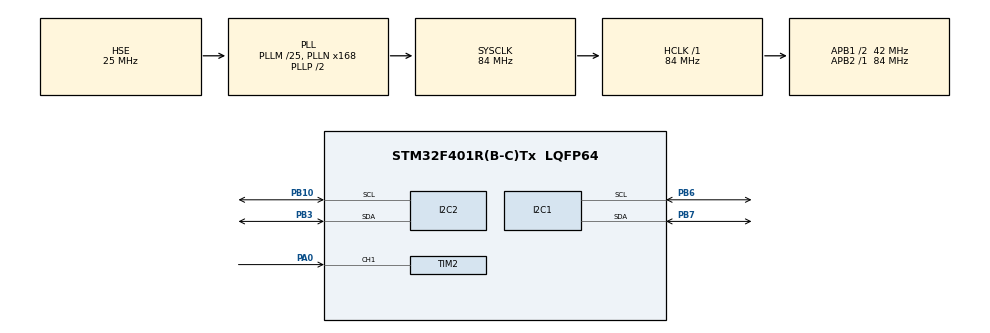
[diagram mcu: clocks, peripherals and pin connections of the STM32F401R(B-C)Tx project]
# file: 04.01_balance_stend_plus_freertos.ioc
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I2C1.I2C_Mode=I2C_Fast
I2C2.I2C_Mode=I2C_Fast
Mcu.Family=STM32F4
Mcu.Name=STM32F401R(B-C)Tx
Mcu.Package=LQFP64
NVIC.PriorityGroup=NVIC_PRIORITYGROUP_4
NVIC.TIM1_UP_TIM10_IRQn=true\:15\:0\:false\:false\:true\:false\:true
NVIC.TIM2_IRQn=true\:0\:0\:false\:false\:true\:true\:true
NVIC.TimeBase=TIM1_UP_TIM10_IRQn
NVIC.TimeBaseIP=TIM1
PA0-WKUP.GPIO_ModeDefaultPP=GPIO_MODE_AF_PP
PA0-WKUP.GPIO_PuPd=GPIO_NOPULL
PA0-WKUP.GPIO_Speed=GPIO_SPEED_FREQ_LOW
PA0-WKUP.Signal=S_TIM2_CH1_ETR
PA13.Mode=Serial_Wire
PA13.Signal=SYS_JTMS-SWDIO
PA14.Mode=Serial_Wire
PA14.Signal=SYS_JTCK-SWCLK
PB10.Mode=I2C
PB10.Signal=I2C2_SCL
PB3.Mode=I2C
PB3.Signal=I2C2_SDA
PB6.Mode=I2C
PB6.Signal=I2C1_SCL
PB7.Mode=I2C
PB7.Signal=I2C1_SDA
PH0\ -\ OSC_IN.Mode=HSE-External-Oscillator
PH0\ -\ OSC_IN.Signal=RCC_OSC_IN
PH1\ -\ OSC_OUT.Mode=HSE-External-Oscillator
PH1\ -\ OSC_OUT.Signal=RCC_OSC_OUT
ProjectManager.HeapSize=0x200
ProjectManager.StackSize=0x400
ProjectManager.TargetToolchain=STM32CubeIDE
RCC.48MHZClocksFreq_Value=42000000
RCC.AHBFreq_Value=84000000
RCC.APB1CLKDivider=RCC_HCLK_DIV2
RCC.APB1Freq_Value=42000000
RCC.APB1TimFreq_Value=84000000
RCC.APB2Freq_Value=84000000
RCC.APB2TimFreq_Value=84000000
RCC.CortexFreq_Value=84000000
RCC.HCLKFreq_Value=84000000
RCC.HSE_VALUE=25000000
RCC.HSI_VALUE=16000000
RCC.LSE_VALUE=32768
RCC.PLLM=25
RCC.PLLN=168
RCC.PLLSourceVirtual=RCC_PLLSOURCE_HSE
RCC.SYSCLKFreq_VALUE=84000000
RCC.SYSCLKSource=RCC_SYSCLKSOURCE_PLLCLK
RCC.VCOOutputFreq_Value=168000000
SH.S_TIM2_CH1_ETR.0=TIM2_CH1,Input_Capture1_from_TI1
TIM2.Channel-Input_Capture1_from_TI1=TIM_CHANNEL_1
TIM2.Prescaler=84-1
VP_SYS_VS_tim1.Mode=TIM1
VP_TIM2_VS_ClockSourceINT.Mode=Internal
board=custom

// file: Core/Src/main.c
/* USER CODE BEGIN Header */
/**
  ******************************************************************************
  * @file           : main.c
  * @brief          : Main program body
  ******************************************************************************
  * @attention
  *
  * <h2><center>&copy; Copyright (c) 2023 STMicroelectronics.
  * All rights reserved.</center></h2>
  *
  * This software component is licensed by ST under BSD 3-Clause license,
  * the "License"; You may not use this file except in compliance with the
  * License. You may obtain a copy of the License at:
  *                        opensource.org/licenses/BSD-3-Clause
  *
  ******************************************************************************
  */
/* USER CODE END Header */
#include "liquidcrystal_i2c.h"
#include "main.h"
#include "i2c.h"
#include "tim.h"
#include "gpio.h"

/* USER CODE BEGIN Includes */
/* Hardware and starter kit includes. */
#include "stm32f4xx.h"
#include <string.h> /* memset */
#include <unistd.h> /* close */
#include <stdio.h>
/* USER CODE END Includes */

/* USER CODE BEGIN PTD */
typedef struct STRCT_freq_process {
	// FP_ - Frequency process
	uint32_t FP_frequency_counter;
	uint32_t FP_front_counter;
	uint32_t FP_period;
	uint32_t FP_frequency;
	uint32_t FP_timeout_flag;
} STRCT_freq_process;

typedef struct STRCT_lcd_process {
	// LCDPR_ - LCD PRINT
	// accelerometrs values
	int16_t LCDPR_act_acc_value;
	int16_t LCDPR_prev_acc_value;
	int16_t LCDPR_acc_max_value;
	int16_t LCDPR_acc_min_value;
	float LCDPR_acc_amplitude;
	float LCDPR_prev_acc_amplitude;

	// frequency values
	uint32_t LCDPR_frequency_counter;
	uint32_t LCDPR_period;
	float LCDPR_frequency;
	float LCDPR_prev_freqency_value;

	// frequency values from imu
	uint32_t LCDPR_frequency_counter_from_imu_values;
	uint32_t LCDPR_period_from_imu_values;
	float LCDPR_frequency_from_imu_values;

	// flags
	uint8_t LCDPR_freq_flag;
	int16_t LCDPR_ampl_flag;
	uint8_t LCDPR_phase_flag;

	// buffers
	char LCDPR_clear_buff[16];
	char LCDPR_print_buff[10];

	// phase
	float LCDPR_phase;
	float LCDPR_phase_crockodil;
	float LCDPR_prev_phase_value;

} STRCT_lcd_process;

/* USER CODE END PTD */

/* USER CODE BEGIN PD */
//#define mainDELAY_LOOP_COUNT   ( 0xfffff )
#define mainDELAY_LOOP_COUNT   ( 0x7D0 )
//#define mainDELAY_LOOP_COUNT   ( 0xBB8 )

#define MPU6050_ADDR 0xD0

#define SMPLRT_DIV_REG 0x19
#define GYRO_CONFIG_REG 0x1B
#define ACCEL_CONFIG_REG 0x1C
#define ACCEL_XOUT_H_REG 0x3B
#define TEMP_OUT_H_REG 0x41
#define GYRO_XOUT_H_REG 0x43
#define PWR_MGMT_1_REG 0x6B
#define WHO_AM_I_REG 0x75
#define DLPF_CFG_REG 0x1A
/* USER CODE END PD */

void SystemClock_Config(void);

/* USER CODE BEGIN 0 */
#define TIMCLOCK   84000000
#define PRESCALAR  84-1

uint32_t IC_Val1 = 0;
uint32_t IC_Val2 = 0;
uint32_t Difference = 0;
int Is_First_Captured = 0;

// GLOBAL VARIABLES, THAT WILL CONTAIN NEXT VALUES:
// actual frequency
float GLBL_frequency = 0;
// actual value of accelerometr
int16_t GLBL_act_acc_value = 0;
// frequency counter
uint32_t GLBL_frequency_counter =  0;
// timeout flag of driver working or not working
uint16_t driver_off_flag = 0;
/* GetIdleTaskMemory prototype (linked to static allocation support) */
void vApplicationGetIdleTaskMemory( StaticTask_t **ppxIdleTaskTCBBuffer, StackType_t **ppxIdleTaskStackBuffer, uint32_t *pulIdleTaskStackSize );

/* USER CODE BEGIN GET_IDLE_TASK_MEMORY */
static StaticTask_t xIdleTaskTCBBuffer;
static StackType_t xIdleStack[configMINIMAL_STACK_SIZE];

void vApplicationGetIdleTaskMemory( StaticTask_t **ppxIdleTaskTCBBuffer, StackType_t **ppxIdleTaskStackBuffer, uint32_t *pulIdleTaskStackSize )
{
  *ppxIdleTaskTCBBuffer = &xIdleTaskTCBBuffer;
  *ppxIdleTaskStackBuffer = &xIdleStack[0];
  *pulIdleTaskStackSize = configMINIMAL_STACK_SIZE;
  /* place for user code */
}

void HAL_TIM_IC_CaptureCallback(TIM_HandleTypeDef *htim)
{
	if (htim->Channel == HAL_TIM_ACTIVE_CHANNEL_1)
	{
		driver_off_flag = 0;
		if (Is_First_Captured==0) // if the first rising edge is not captured
		{
			IC_Val1 = HAL_TIM_ReadCapturedValue(htim, TIM_CHANNEL_1); // read the first value
			Is_First_Captured = 1;  // set the first captured as true

			GLBL_frequency_counter++;
		}

		else   // If the first rising edge is captured, now we will capture the second edge
		{
			IC_Val2 = HAL_TIM_ReadCapturedValue(htim, TIM_CHANNEL_1);  // read second value

			if (IC_Val2 > IC_Val1)
			{
				Difference = IC_Val2-IC_Val1;
			}

			else if (IC_Val1 > IC_Val2)
			{
				Difference = (0xffffffff - IC_Val1) + IC_Val2;
			}

			float refClock = TIMCLOCK/(PRESCALAR);

			GLBL_frequency = refClock/Difference;

//			if((refClock/Difference) > 100)
//				;
//			else
//				GLBL_frequency = refClock/Difference;

			//printf("frequency = %.5f\n", frequency*1000);

			__HAL_TIM_SET_COUNTER(htim, 0);  // reset the counter
			Is_First_Captured = 0; // set it back to false

			GLBL_frequency_counter++;
		}
	}
}

void MPU6050_Init (void)
{
	uint8_t check;
	uint8_t Data;

	// check device ID WHO_AM_I

	HAL_I2C_Mem_Read (&hi2c1, MPU6050_ADDR,WHO_AM_I_REG,1, &check, 1, 1000);

	if (check == 104)  // 0x68 will be returned by the sensor if everything goes well
	{
		// internal accelerometr delay to zero
		Data = 0;
		HAL_I2C_Mem_Write(&hi2c1, MPU6050_ADDR, DLPF_CFG_REG, 1, &Data, 1, 1000);

		// power management register 0X6B we should write all 0's to wake the sensor up
		Data = 0;
		HAL_I2C_Mem_Write(&hi2c1, MPU6050_ADDR, PWR_MGMT_1_REG, 1, &Data, 1, 1000);

		// Set DATA RATE of 1KHz by writing SMPLRT_DIV register
		Data = 0x07;
		HAL_I2C_Mem_Write(&hi2c1, MPU6050_ADDR, SMPLRT_DIV_REG, 1, &Data, 1, 1000);

		// Set accelerometer configuration in ACCEL_CONFIG Register
		// XA_ST=0,YA_ST=0,ZA_ST=0, FS_SEL=0 -> ± 2g
		Data = 0x00;
		HAL_I2C_Mem_Write(&hi2c1, MPU6050_ADDR, ACCEL_CONFIG_REG, 1, &Data, 1, 1000);

		// Set Gyroscopic configuration in GYRO_CONFIG Register
		// XG_ST=0,YG_ST=0,ZG_ST=0, FS_SEL=0 -> ± 250 °/s
		Data = 0x00;
		HAL_I2C_Mem_Write(&hi2c1, MPU6050_ADDR, GYRO_CONFIG_REG, 1, &Data, 1, 1000);
	}
}

void mpu6050_read_accel(void)
{
	// RA_ - READ ACCELEROMETR

	// accelerometrs values
	int16_t RA_Accel_X_RAW = 0;
	float RA_Ax;
	uint8_t RA_Rec_Data[2];

	HAL_I2C_Mem_Read (&hi2c1, MPU6050_ADDR, ACCEL_XOUT_H_REG, 1, RA_Rec_Data, 2, 1000);

	RA_Accel_X_RAW = (int16_t)(RA_Rec_Data[0] << 8 | RA_Rec_Data [1]);

	RA_Ax = RA_Accel_X_RAW/16384.0;

	GLBL_act_acc_value = RA_Ax*1000;
}

void lcd1602_print(STRCT_lcd_process* obj_lcd_process)
{
	// LCDPR_ - LCD PRINT

	driver_off_flag++;
	if(driver_off_flag > 200)
	{
		GLBL_frequency = 0;
		GLBL_frequency_counter = 0;
	}

	obj_lcd_process->LCDPR_act_acc_value = GLBL_act_acc_value;
	obj_lcd_process->LCDPR_frequency_counter = GLBL_frequency_counter;
	obj_lcd_process->LCDPR_frequency = GLBL_frequency;

	// there were a hard fault because here can be dividing of 360*phase_crockodil to period, and
	// period shouldn't be a zero
	if(obj_lcd_process->LCDPR_prev_acc_value > 0 && obj_lcd_process->LCDPR_act_acc_value <= 0 &&
			obj_lcd_process->LCDPR_frequency_counter_from_imu_values > 30)
	{
		obj_lcd_process->LCDPR_period_from_imu_values = obj_lcd_process->LCDPR_frequency_counter_from_imu_values;
		obj_lcd_process->LCDPR_frequency_counter_from_imu_values = 0;
		obj_lcd_process->LCDPR_frequency_from_imu_values = (1.0/(obj_lcd_process->LCDPR_period_from_imu_values))*1000 * 10;

		obj_lcd_process->LCDPR_phase_crockodil = obj_lcd_process->LCDPR_frequency_counter;
		obj_lcd_process->LCDPR_phase = 360*(obj_lcd_process->LCDPR_phase_crockodil)*(obj_lcd_process->LCDPR_frequency);

		obj_lcd_process->LCDPR_frequency_counter = 0;

		(obj_lcd_process->LCDPR_phase_flag)++;
		if(obj_lcd_process->LCDPR_phase_flag > 6)
		{
			// phase
			HD44780_SetCursor(6, 0);
			memset(obj_lcd_process->LCDPR_print_buff, ' ', sizeof(obj_lcd_process->LCDPR_print_buff));
			HD44780_PrintStr (obj_lcd_process->LCDPR_print_buff);
			HD44780_SetCursor(6, 0);
			sprintf(obj_lcd_process->LCDPR_print_buff,"Ph = %u", (unsigned int)obj_lcd_process->LCDPR_phase);
			HD44780_PrintStr (obj_lcd_process->LCDPR_print_buff);

			obj_lcd_process->LCDPR_phase_flag = 0;
		}

		obj_lcd_process->LCDPR_prev_phase_value = obj_lcd_process->LCDPR_phase;
	}
	else{
		obj_lcd_process->LCDPR_frequency_counter_from_imu_values++;
	}

	obj_lcd_process->LCDPR_freq_flag++;
	if(obj_lcd_process->LCDPR_freq_flag > 200)
	{
		HD44780_SetCursor(0, 0);
		memset(obj_lcd_process->LCDPR_print_buff, ' ', sizeof(obj_lcd_process->LCDPR_print_buff));
		HD44780_PrintStr (obj_lcd_process->LCDPR_print_buff);
		HD44780_SetCursor(0, 0);
		sprintf(obj_lcd_process->LCDPR_print_buff,"F = %u", (unsigned int)obj_lcd_process->LCDPR_frequency);
		HD44780_PrintStr (obj_lcd_process->LCDPR_print_buff);

		obj_lcd_process->LCDPR_freq_flag = 0;
	}

	obj_lcd_process->LCDPR_prev_freqency_value = obj_lcd_process->LCDPR_frequency;

	obj_lcd_process->LCDPR_ampl_flag++;
	if(obj_lcd_process->LCDPR_ampl_flag < 200)
	{
		if(obj_lcd_process->LCDPR_act_acc_value >= obj_lcd_process->LCDPR_acc_max_value)
			obj_lcd_process->LCDPR_acc_max_value = obj_lcd_process->LCDPR_act_acc_value;
		if(obj_lcd_process->LCDPR_act_acc_value < obj_lcd_process->LCDPR_acc_min_value)
			obj_lcd_process->LCDPR_acc_min_value = obj_lcd_process->LCDPR_act_acc_value;
	}
	else
	{
		obj_lcd_process->LCDPR_acc_amplitude = obj_lcd_process->LCDPR_acc_max_value - obj_lcd_process->LCDPR_acc_min_value;

		HD44780_SetCursor(0, 1);
		memset(obj_lcd_process->LCDPR_print_buff, ' ', sizeof(obj_lcd_process->LCDPR_print_buff));
		HD44780_PrintStr (obj_lcd_process->LCDPR_print_buff);
		HD44780_SetCursor(0, 1);
		sprintf(obj_lcd_process->LCDPR_print_buff,"A = %u", (unsigned int)obj_lcd_process->LCDPR_acc_amplitude);
		HD44780_PrintStr (obj_lcd_process->LCDPR_print_buff);

		obj_lcd_process->LCDPR_prev_acc_amplitude = obj_lcd_process->LCDPR_acc_amplitude;

		obj_lcd_process->LCDPR_ampl_flag = 0;
		obj_lcd_process->LCDPR_acc_max_value = obj_lcd_process->LCDPR_act_acc_value;
		obj_lcd_process->LCDPR_acc_min_value = obj_lcd_process->LCDPR_act_acc_value;
	}

	obj_lcd_process->LCDPR_prev_acc_value = obj_lcd_process->LCDPR_act_acc_value;

}

void FRRTS_IMU_PROCESS( void *pvParameters )
{
	volatile uint32_t ul; /* volatile to ensure ul is not optimized away. */
	/* As per most tasks, this task is implemented in an infinite loop. */
	for( ;; )
	{
		mpu6050_read_accel();

		/* Delay for a period. */
		for( ul = 0; ul < mainDELAY_LOOP_COUNT; ul++ )
		{
			/* This loop is just a very crude delay implementation. There is
			nothing to do in here. Later examples will replace this crude
			loop with a proper delay/sleep function. */
		}
	}
}

void FRRTS_LCD_PRINT( void *pvParameters )
{
	volatile uint32_t ul; /* volatile to ensure ul is not optimized away. */
	/* As per most tasks, this task is implemented in an infinite loop. */

	STRCT_lcd_process obj_lcd_process = {0};

	for( ;; )
	{
		lcd1602_print(&obj_lcd_process);

		/* Delay for a period. */
		for( ul = 0; ul < mainDELAY_LOOP_COUNT; ul++ )
		{
			/* This loop is just a very crude delay implementation. There is
			nothing to do in here. Later examples will replace this crude
			loop with a proper delay/sleep function. */
		}
	}
}

/* USER CODE END 0 */

int main(void)
{
  /* USER CODE BEGIN 1 */

/*
 * !!!!!!!!!!!!!!!!!!!!!!!!!!!!!!!!!!!!!!!!!!!!!!!!!!!!!!!!!!!!!!!!!!!!!!!!!!!!!!!
 * !!!!!!!!!!!!!!!!!!!!!!!!!!!!!!!!!!!!!!!!!!!!!!!!!!!!!!!!!!!!!!!!!!!!!!!!!!!!!!!
 * !!!!!!!!!!!!!!!!!!!!!!!!!!!!!!!!!!!!!!!!!!!!!!!!!!!!!!!!!!!!!!!!!!!!!!!!!!!!!!!
 * !!!!!!!!!!!!!!!!!!!!!!!!!!!!!!!!!!!!!!!!!!!!!!!!!!!!!!!!!!!!!!!!!!!!!!!!!!!!!!!
 * !!!!!!!!!!!!!!!!!!!!!!!!!!!!!!!!!!!!!!!!!!!!!!!!!!!!!!!!!!!!!!!!!!!!!!!!!!!!!!!
	ЕСЛИ ДАТЧИК ОБОРОТОВ ВЫДАЕТ СЛИШКОМ МНОГО GARBAGE ЗНАЧЕНИЙ ПРИРАСЧЕТЕ ЧАСТОТЫ,
	ТО СЛЕДУЕТ ПОПРОБОВАТЬ ПОКРУТИТЬ ПОТЕНЦИОМЕТР НА САМОМ ДАТЧИКЕ. Т.К. 03.01.2024
	ПОЛУЧИЛОСЬ РЕШИТЬ ЭТУ ПРОБЛЕМУ ТАКИМ ОБРАЗОМ/

	ЕСЛИ НЕ РАБОТАЕТ IMU, ТО ОТСОЕДИНИТЬ ПРОВОД ЗЕМЛИ ОТ ИМЮШКИ НА КОНТРОЛЛЕРЕ И
	ВСТАИТЬ ЗАНОВО

	CUBE IDE МОЖЕТ РУГАТЬСЯ НА ЭТИ СТРОЧКИ КОД:
		if(driver_off_flag > 200)
	{
		GLBL_frequency = 0;
	}

	ЕСЛИ НАЧИНАЕТ РУГАТЬ, ПОПЫТАТЬСЯ СНЧАЛА ИХ ЗАКОММЕНТИРОВАТЬ, ЗАПУСТИТЬ ПРОЕКТ,
	ОНА ДОЛЖЕН ЗАПУСТИТЬСЯ, ПОСЛЕ ЭТОГО ОСТАНОВИТЬСЯ РАБОТУ ПРОГРАММЫ, РАЗКОММЕН-
	ТИРОВАТЬ ЭТИ СТРОЧКИ КОДА И ЗАПУСТИТЬ ПРОГРАММУ ЗАНОВО

 * !!!!!!!!!!!!!!!!!!!!!!!!!!!!!!!!!!!!!!!!!!!!!!!!!!!!!!!!!!!!!!!!!!!!!!!!!!!!!!!
 * !!!!!!!!!!!!!!!!!!!!!!!!!!!!!!!!!!!!!!!!!!!!!!!!!!!!!!!!!!!!!!!!!!!!!!!!!!!!!!!
 * !!!!!!!!!!!!!!!!!!!!!!!!!!!!!!!!!!!!!!!!!!!!!!!!!!!!!!!!!!!!!!!!!!!!!!!!!!!!!!!
 * !!!!!!!!!!!!!!!!!!!!!!!!!!!!!!!!!!!!!!!!!!!!!!!!!!!!!!!!!!!!!!!!!!!!!!!!!!!!!!!
 * !!!!!!!!!!!!!!!!!!!!!!!!!!!!!!!!!!!!!!!!!!!!!!!!!!!!!!!!!!!!!!!!!!!!!!!!!!!!!!!
 * !!!!!!!!!!!!!!!!!!!!!!!!!!!!!!!!!!!!!!!!!!!!!!!!!!!!!!!!!!!!!!!!!!!!!!!!!!!!!!!
*/

  /* USER CODE END 1 */

  /* MCU Configuration--------------------------------------------------------*/

  /* Reset of all peripherals, Initializes the Flash interface and the Systick. */
  HAL_Init();

  /* Configure the system clock */
  SystemClock_Config();

  /* Initialize all configured peripherals */
  MX_GPIO_Init();
  MX_I2C1_Init();
  MX_I2C2_Init();
  MX_TIM2_Init();
  /* USER CODE BEGIN 2 */
	MPU6050_Init();
	// Функция инициализации дисплея
	HD44780_Init(2);
	HD44780_Clear();
	HD44780_SetCursor(3,0);
	HD44780_PrintStr("WELCOME TO");
	HD44780_SetCursor(3,1);
	HD44780_PrintStr("BALANCING");
	HAL_Delay(2000);

	HD44780_Clear();

	HAL_TIM_IC_Start_IT(&htim2, TIM_CHANNEL_1);

  /* Create one of the two tasks. Note that a real application should check
   the return value of the xTaskCreate() call to ensure the task was created
   successfully. */

   xTaskCreate(FRRTS_IMU_PROCESS, /* Pointer to the function that implements the task. */
   "FRRTS_IMU_PROCESS",/* Text name for the task. This is to facilitate debugging only. */
   1000, /* Stack depth - small microcontrollers will use much less stack than this. */
   NULL, /* This example does not use the task parameter. */
   1, /* This task will run at priority 1. */
   NULL ); /* This example does not use the task handle. */

   /* Create the other task in exactly the same way and at the same priority. */
   xTaskCreate(FRRTS_LCD_PRINT, "FRRTS_LCD_PRINT", 1000, NULL, 1, NULL );
   /* Start the scheduler so the tasks start executing. */
   vTaskStartScheduler();
  /* USER CODE END 2 */

  /* Infinite loop */
  while (1)
  {

  }
}

void SystemClock_Config(void)
{
  RCC_OscInitTypeDef RCC_OscInitStruct = {0};
  RCC_ClkInitTypeDef RCC_ClkInitStruct = {0};

  /** Configure the main internal regulator output voltage
  */
  __HAL_RCC_PWR_CLK_ENABLE();
  __HAL_PWR_VOLTAGESCALING_CONFIG(PWR_REGULATOR_VOLTAGE_SCALE2);
  /** Initializes the RCC Oscillators according to the specified parameters
  * in the RCC_OscInitTypeDef structure.
  */
  RCC_OscInitStruct.OscillatorType = RCC_OSCILLATORTYPE_HSE;
  RCC_OscInitStruct.HSEState = RCC_HSE_ON;
  RCC_OscInitStruct.PLL.PLLState = RCC_PLL_ON;
  RCC_OscInitStruct.PLL.PLLSource = RCC_PLLSOURCE_HSE;
  RCC_OscInitStruct.PLL.PLLM = 25;
  RCC_OscInitStruct.PLL.PLLN = 168;
  RCC_OscInitStruct.PLL.PLLP = RCC_PLLP_DIV2;
  RCC_OscInitStruct.PLL.PLLQ = 4;
  if (HAL_RCC_OscConfig(&RCC_OscInitStruct) != HAL_OK)
  {
    Error_Handler();
  }
  /** Initializes the CPU, AHB and APB buses clocks
  */
  RCC_ClkInitStruct.ClockType = RCC_CLOCKTYPE_HCLK|RCC_CLOCKTYPE_SYSCLK
                              |RCC_CLOCKTYPE_PCLK1|RCC_CLOCKTYPE_PCLK2;
  RCC_ClkInitStruct.SYSCLKSource = RCC_SYSCLKSOURCE_PLLCLK;
  RCC_ClkInitStruct.AHBCLKDivider = RCC_SYSCLK_DIV1;
  RCC_ClkInitStruct.APB1CLKDivider = RCC_HCLK_DIV2;
  RCC_ClkInitStruct.APB2CLKDivider = RCC_HCLK_DIV1;

  if (HAL_RCC_ClockConfig(&RCC_ClkInitStruct, FLASH_LATENCY_2) != HAL_OK)
  {
    Error_Handler();
  }
}

void HAL_TIM_PeriodElapsedCallback(TIM_HandleTypeDef *htim)
{
  if (htim->Instance == TIM1) {
    HAL_IncTick();
  }
}

void Error_Handler(void)
{
  __disable_irq();
  while (1)
  {
  }
}

/************************ (C) COPYRIGHT STMicroelectronics *****END OF FILE****/
